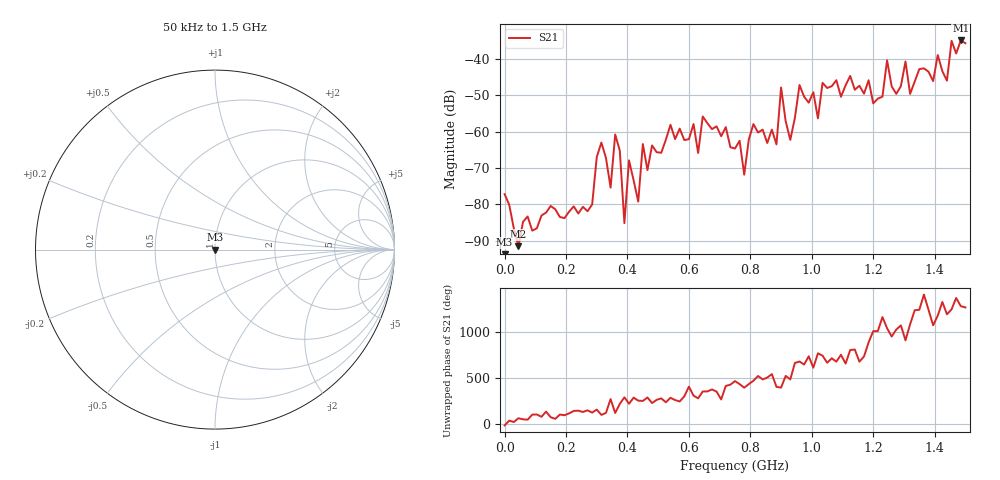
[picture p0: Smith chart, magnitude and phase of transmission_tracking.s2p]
! Created with skrf 1.8.0 (http://scikit-rf.org).
# Hz S RI R 50.0
!freq ReS11 ImS11 ReS21 ImS21 ReS12 ImS12 ReS22 ImS22
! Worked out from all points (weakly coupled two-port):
!   101 points, 50 kHz to 1.5 GHz, reference 50 ohm
!   highest |S21| = -34.88 dB at 1.485 GHz (marker M1); lowest = -91.5 dB at 45.05 MHz (marker M2)
!   lowest |S11| = - dB at 50 kHz (marker M3), VSWR 1.00, Z = 50 + j0 ohm
!   |S11| at or under -10 dB: start of sweep to end of sweep
!   S12 and S22 are empty: the file has one direction only
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50000  0 0  0.000136 -2.56e-05  0 0  0 0
4.50485e7  0 0  1.01e-05 2.46e-05  0 0  0 0
2.550415e8  0 0  -6.63e-05 6.45e-05  0 0  0 0
3.150395e8  0 0  -0.000172 0.000689  0 0  0 0
3.450385e8  0 0  1.88e-05 -0.000169  0 0  0 0
3.60038e8  0 0  -0.000529 0.00075  0 0  0 0
3.90037e8  0 0  2.35e-05 -5e-05  0 0  0 0
4.050365e8  0 0  -0.000283 -0.000288  0 0  0 0
4.350355e8  0 0  -2.08e-05 -0.000107  0 0  0 0
4.50035e8  0 0  -0.000166 -0.000657  0 0  0 0
5.10033e8  0 0  0.000119 -0.0005  0 0  0 0
6.450285e8  0 0  0.00162 -3.58e-05  0 0  0 0
7.50025e8  0 0  -0.000216 0.000546  0 0  0 0
7.80024e8  0 0  0.000198 0.000163  0 0  0 0
8.10023e8  0 0  -0.000542 0.00115  0 0  0 0
8.850205e8  0 0  0.00044 0.000504  0 0  0 0
9.0002e8  0 0  0.0031 0.00262  0 0  0 0
9.30019e8  0 0  -0.000496 0.00059  0 0  0 0
1.005016e9  0 0  -0.00076 -0.00341  0 0  0 0
1.260008e9  0 0  -0.00238 -0.00348  0 0  0 0
1.485e9  0 0  -0.0162 -0.00801  0 0  0 0
1.5e9  0 0  -0.0162 -0.00346  0 0  0 0
